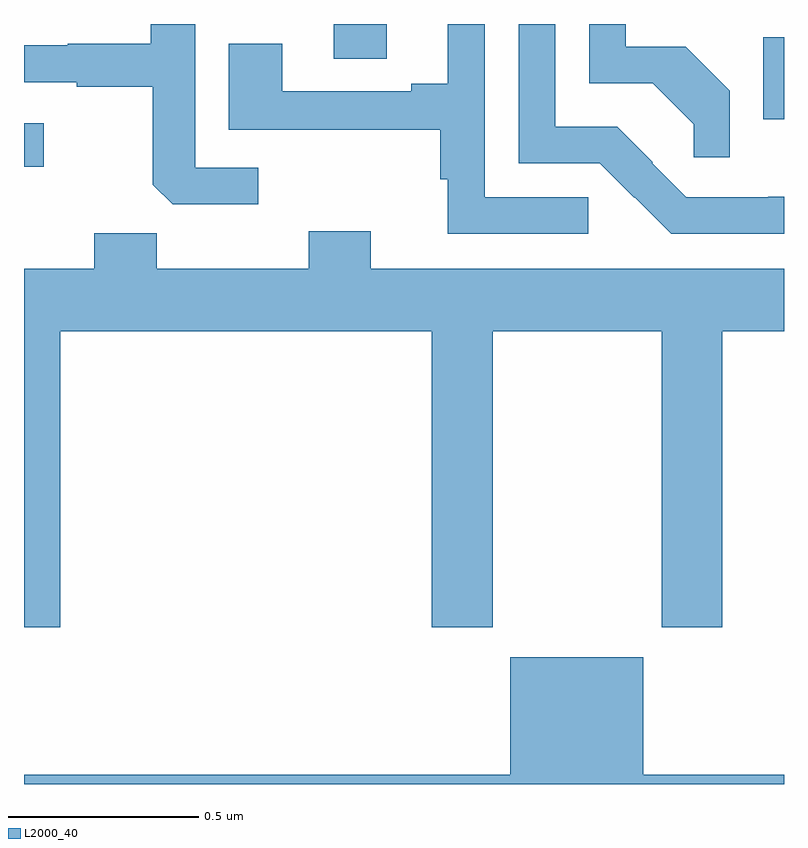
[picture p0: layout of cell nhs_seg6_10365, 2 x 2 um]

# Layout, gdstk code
import gdstk
lib = gdstk.Library(unit=1e-6, precision=1e-09)
def R(c, l, rs):  # rectangles x0, y0, x1, y1
    for r in rs: c.add(gdstk.rectangle(r[:2], r[2:], *l))
def P(c, l, *ps):  # polygons
    for p in ps: c.add(gdstk.Polygon(p, *l))
L2000_40 = (2000, 40)

nhs_seg6_10365 = lib.new_cell('nhs_seg6_10365')
R(nhs_seg6_10365, L2000_40, [(246,925.124,246.052,925.239), (247.946,925.25,248,925.465), (246.815,925.408,246.955,925.5)])
P(nhs_seg6_10365, L2000_40, [(246.616,925.122),(246.45,925.122),(246.45,925.5),(246.334,925.5),(246.334,925.448),(246.115,925.448),(246.115,925.444),(246,925.444),(246,925.347),(246.139,925.347),(246.139,925.335),(246.339,925.335),(246.339,925.077),(246.391,925.026),(246.616,925.026)],
  [(247.857,925.324),(247.741,925.44),(247.584,925.44),(247.584,925.5),(247.488,925.5),(247.488,925.344),(247.654,925.344),(247.762,925.236),(247.762,925.149),(247.857,925.149)],
  [(248,925.046),(247.958,925.046),(247.958,925.044),(247.743,925.044),(247.653,925.134),(247.655,925.136),(247.561,925.23),(247.398,925.23),(247.398,925.5),(247.302,925.5),(247.302,925.134),(247.515,925.134),(247.606,925.043),(247.607,925.044),(247.703,924.948),(248,924.948)],
  [(247.485,925.044),(247.212,925.044),(247.212,925.5),(247.115,925.5),(247.115,925.343),(247.019,925.343),(247.019,925.323),(246.679,925.323),(246.679,925.448),(246.539,925.448),(246.539,925.222),(247.096,925.222),(247.096,925.091),(247.115,925.091),(247.115,924.948),(247.485,924.948)],
  [(246.095,924.692),(247.073,924.692),(247.073,923.913),(247.233,923.913),(247.233,924.692),(247.678,924.692),(247.678,923.913),(247.838,923.913),(247.838,924.692),(248,924.692),(248,924.856),(246.913,924.856),(246.913,924.955),(246.749,924.955),(246.749,924.856),(246.349,924.856),(246.349,924.949),(246.185,924.949),(246.185,924.856),(246,924.856),(246,923.913),(246.095,923.913)],
  [(248,923.524),(247.63,923.524),(247.63,923.833),(247.28,923.833),(247.28,923.524),(246,923.524),(246,923.5),(248,923.5)])

lib.write_gds('nhs_seg6_10365.gds')
